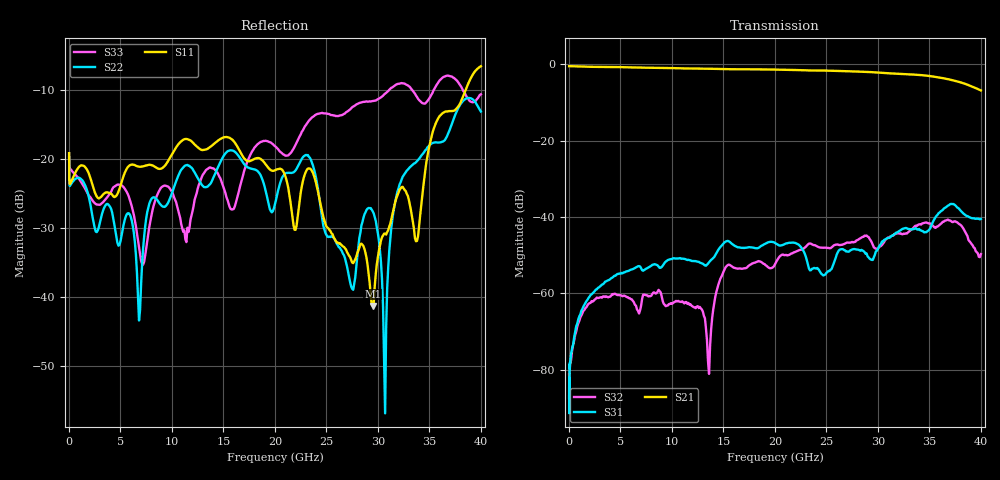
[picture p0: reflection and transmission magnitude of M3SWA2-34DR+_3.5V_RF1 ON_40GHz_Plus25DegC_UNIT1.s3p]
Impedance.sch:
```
<QucsStudio Schematic 5.8>
<Properties>
View=0,0,800,800,1,0,0
Grid=10,10,1
DataSet=*.dat
DataDisplay=*.dpl
OpenDisplay=1
showFrame=0
FrameText0=Title \n @PATH@@FILE@
FrameText1=Drawn By:
FrameText2=Date: @DATE@
FrameText3=Revision:
</Properties>
<Symbol>
</Symbol>
<Components>
SPfile X1 1 260 180 -26 -70 0 "Sparameters/M3SWA2-34DR+_3.5V_RF1 ON_40GHz_Plus25DegC_UNIT1.s3p"0"3"0"polar"0"linear"0"short"0"none"0"block"0"SOT23"0
Pac P1 1 120 180 18 -26 0 "1"1"50 Ω"1"0 dBm"0"1 GHz"0"26.85"0"con_2"0
Pac P3 1 180 260 18 -26 0 "3"1"50 Ω"1"0 dBm"0"1 GHz"0"26.85"0"con_2"0
Pac P2 1 340 180 18 -26 0 "2"1"50 Ω"1"0 dBm"0"1 GHz"0"26.85"0"con_2"0
GND * 1 180 290 0 0 0
GND * 1 260 240 0 0 0
GND * 1 340 210 0 0 0
GND * 1 120 210 0 0 0
.SP SP1 1 160 410 0 9 0 "lin"1"2 GHz"1"12 GHz"1"100"1"no"0"1"0"2"0"none"0
</Components>
<Wires>
290 150 340 150
120 150 230 150
180 210 230 210
180 210 180 230
</Wires>
<Diagrams>
</Diagrams>
<Paintings>
</Paintings>
```
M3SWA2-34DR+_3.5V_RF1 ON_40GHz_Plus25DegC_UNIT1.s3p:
!Keysight Technologies,N5247B,MY61255066,A.15.50.07
!Date: Tuesday, August 29, 2023 14:14:51
!Correction: S11(C  3-Port  )
!S12(C  3-Port  )
!S13(C  3-Port  )
!S21(C  3-Port  )
!S22(C  3-Port  )
!S23(C  3-Port  )
!S31(C  3-Port  )
!S32(C  3-Port  )
!S33(C  3-Port  )
!S3P File: Measurements: <S11,S12,S13>,
!<S21,S22,S23>,
!<S31,S32,S33>:
!Deduct Board Loss
# Hz S  dB  R 50
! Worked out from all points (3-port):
!   409 points, 10 MHz to 40 GHz, reference 50 ohm
!   strongest paths, dB at 10 MHz, 9.4 GHz, 19.6 GHz, 29.8 GHz, 40 GHz:
!     S21: -0.5, -1.0, -1.4, -2.2, -6.9
!     S31: -87.4, -51.7, -46.5, -49.0, -40.5
!     S32: -81.1, -63.3, -53.4, -48.2, -49.7
!   lowest |S11| = -41.3 dB at 29.5 GHz (marker M1), VSWR 1.02, Z = 50.6 - j0.655 ohm
!   |S11| at or under -10 dB: start of sweep to 38.53 GHz
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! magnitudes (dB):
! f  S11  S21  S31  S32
! 10 MHz  -19.2  -0.5  -87.4  -81.1
! 6.6 GHz  -21.1  -0.9  -53.0  -64.2
! 29.5 GHz  -41.3  -2.1  -51.2  -47.2
! 30.7 GHz  -30.8  -2.3  -45.9  -46.0
! 40 GHz  -6.6  -6.9  -40.5  -49.7
